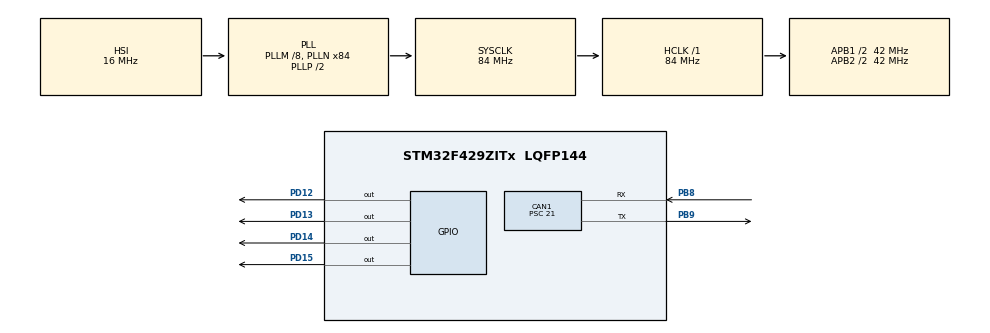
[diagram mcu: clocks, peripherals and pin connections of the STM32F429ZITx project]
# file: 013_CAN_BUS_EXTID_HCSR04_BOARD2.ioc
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CAN1.BS1=CAN_BS1_13TQ
CAN1.BS2=CAN_BS2_2TQ
CAN1.CalculateBaudRate=125000
CAN1.CalculateTimeBit=8000
CAN1.CalculateTimeQuantum=500.0
CAN1.Prescaler=21
Mcu.Family=STM32F4
Mcu.Name=STM32F429ZITx
Mcu.Package=LQFP144
NVIC.CAN1_RX0_IRQn=true\:0\:0\:false\:false\:true\:true\:true\:true
NVIC.PriorityGroup=NVIC_PRIORITYGROUP_0
PB8.Mode=CAN_Activate
PB8.Signal=CAN1_RX
PB9.Mode=CAN_Activate
PB9.Signal=CAN1_TX
PD12.Signal=GPIO_Output
PD13.Signal=GPIO_Output
PD14.Signal=GPIO_Output
PD15.Signal=GPIO_Output
PH0/OSC_IN.Mode=HSE-External-Oscillator
PH0/OSC_IN.Signal=RCC_OSC_IN
PH1/OSC_OUT.Mode=HSE-External-Oscillator
PH1/OSC_OUT.Signal=RCC_OSC_OUT
ProjectManager.HeapSize=0x200
ProjectManager.StackSize=0x400
ProjectManager.TargetToolchain=STM32CubeIDE
RCC.48MHZClocksFreq_Value=24000000
RCC.AHBFreq_Value=84000000
RCC.APB1CLKDivider=RCC_HCLK_DIV2
RCC.APB1Freq_Value=42000000
RCC.APB1TimFreq_Value=84000000
RCC.APB2CLKDivider=RCC_HCLK_DIV2
RCC.APB2Freq_Value=42000000
RCC.APB2TimFreq_Value=84000000
RCC.CortexFreq_Value=84000000
RCC.HCLKFreq_Value=84000000
RCC.HSE_VALUE=8000000
RCC.HSI_VALUE=16000000
RCC.LSE_VALUE=32768
RCC.PLLM=8
RCC.PLLN=84
RCC.PLLQ=7
RCC.SYSCLKFreq_VALUE=84000000
RCC.SYSCLKSource=RCC_SYSCLKSOURCE_PLLCLK
RCC.VCOOutputFreq_Value=168000000
board=STM32F429I-DISC1

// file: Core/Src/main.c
/* USER CODE BEGIN Header */
/**
  ******************************************************************************
  * @file           : main.c
  * @brief          : Main program body
  ******************************************************************************
  * @attention
  *
  * Copyright (c) 2023 STMicroelectronics.
  * All rights reserved.
  *
  * This software is licensed under terms that can be found in the LICENSE file
  * in the root directory of this software component.
  * If no LICENSE file comes with this software, it is provided AS-IS.
  *
  ******************************************************************************
  */
/* USER CODE END Header */
#include "main.h"

CAN_HandleTypeDef hcan1;

/* USER CODE BEGIN PV */
CAN_RxHeaderTypeDef pRXHeader;
CAN_TxHeaderTypeDef pTXHeader;
CAN_FilterTypeDef sFilterconfig;
uint8_t rdistance;
/* USER CODE END PV */

void SystemClock_Config(void);
static void MX_GPIO_Init(void);
static void MX_CAN1_Init(void);

int main(void)
{

  /* MCU Configuration--------------------------------------------------------*/

  /* Reset of all peripherals, Initializes the Flash interface and the Systick. */
  HAL_Init();

  /* Configure the system clock */
  SystemClock_Config();

  /* Initialize all configured peripherals */
  MX_GPIO_Init();
  MX_CAN1_Init();
  /* USER CODE BEGIN 2 */

pTXHeader.DLC = 1;
pTXHeader.IDE = CAN_ID_EXT;
pTXHeader.RTR  = CAN_RTR_DATA;
pTXHeader.ExtId = 0x1234ABCD;

sFilterconfig.FilterActivation = ENABLE;
sFilterconfig.FilterBank = 0;
sFilterconfig.FilterFIFOAssignment = CAN_FILTER_FIFO0;
sFilterconfig.FilterIdHigh = 0xAB12FFFF >> 13 ;   // FILTER ONLY MSG FROM BOARD 1
sFilterconfig.FilterIdLow = 0 ;
sFilterconfig.FilterMaskIdHigh  = 0xAB12FFFF >> 13;
sFilterconfig.FilterMaskIdLow = 0;
sFilterconfig.FilterMode = CAN_FILTERMODE_IDMASK;
sFilterconfig.FilterScale = CAN_FILTERSCALE_32BIT;

HAL_CAN_ConfigFilter(&hcan1, &sFilterconfig);

HAL_CAN_Start(&hcan1);  // START CAN COMMUNICATION

HAL_CAN_ActivateNotification(&hcan1, CAN_IT_RX_FIFO0_MSG_PENDING); // START RX0 FIFO0 INTERRUPT
  /* USER CODE END 2 */

  /* Infinite loop */
  while (1)
  {

    /* USER CODE BEGIN 3 */

	  if(rdistance > 6 && rdistance <12)
	  {
		  HAL_GPIO_WritePin(GPIOD, GPIO_PIN_12,GPIO_PIN_SET);
		  HAL_GPIO_WritePin(GPIOD,GPIO_PIN_13 |GPIO_PIN_14 |GPIO_PIN_15,GPIO_PIN_RESET);

	  }
	  else if(rdistance >=12 && rdistance < 18)
	  {
		  HAL_GPIO_WritePin(GPIOD, GPIO_PIN_12 | GPIO_PIN_13,GPIO_PIN_SET);
		  HAL_GPIO_WritePin(GPIOD,GPIO_PIN_14 |GPIO_PIN_15,GPIO_PIN_RESET);

	  }
	  else if(rdistance >= 18 && rdistance < 24)
	  {
		  HAL_GPIO_WritePin(GPIOD, GPIO_PIN_12 | GPIO_PIN_13 |GPIO_PIN_14,GPIO_PIN_SET);
		  HAL_GPIO_WritePin(GPIOD,GPIO_PIN_15,GPIO_PIN_RESET);

	  }
	  else if(rdistance >= 24)
	  {
		  HAL_GPIO_WritePin(GPIOD, GPIO_PIN_12 | GPIO_PIN_13 |GPIO_PIN_14|GPIO_PIN_15,GPIO_PIN_SET);
	  }
	  else
	  {

		  HAL_GPIO_WritePin(GPIOD, GPIO_PIN_12 | GPIO_PIN_13 |GPIO_PIN_14|GPIO_PIN_15,GPIO_PIN_RESET);
	  }
  }
  /* USER CODE END 3 */
}

void SystemClock_Config(void)
{
  RCC_OscInitTypeDef RCC_OscInitStruct = {0};
  RCC_ClkInitTypeDef RCC_ClkInitStruct = {0};

  /** Configure the main internal regulator output voltage
  */
  __HAL_RCC_PWR_CLK_ENABLE();
  __HAL_PWR_VOLTAGESCALING_CONFIG(PWR_REGULATOR_VOLTAGE_SCALE3);

  /** Initializes the RCC Oscillators according to the specified parameters
  * in the RCC_OscInitTypeDef structure.
  */
  RCC_OscInitStruct.OscillatorType = RCC_OSCILLATORTYPE_HSI;
  RCC_OscInitStruct.HSIState = RCC_HSI_ON;
  RCC_OscInitStruct.HSICalibrationValue = RCC_HSICALIBRATION_DEFAULT;
  RCC_OscInitStruct.PLL.PLLState = RCC_PLL_ON;
  RCC_OscInitStruct.PLL.PLLSource = RCC_PLLSOURCE_HSI;
  RCC_OscInitStruct.PLL.PLLM = 8;
  RCC_OscInitStruct.PLL.PLLN = 84;
  RCC_OscInitStruct.PLL.PLLP = RCC_PLLP_DIV2;
  RCC_OscInitStruct.PLL.PLLQ = 7;
  if (HAL_RCC_OscConfig(&RCC_OscInitStruct) != HAL_OK)
  {
    Error_Handler();
  }

  /** Initializes the CPU, AHB and APB buses clocks
  */
  RCC_ClkInitStruct.ClockType = RCC_CLOCKTYPE_HCLK|RCC_CLOCKTYPE_SYSCLK
                              |RCC_CLOCKTYPE_PCLK1|RCC_CLOCKTYPE_PCLK2;
  RCC_ClkInitStruct.SYSCLKSource = RCC_SYSCLKSOURCE_PLLCLK;
  RCC_ClkInitStruct.AHBCLKDivider = RCC_SYSCLK_DIV1;
  RCC_ClkInitStruct.APB1CLKDivider = RCC_HCLK_DIV2;
  RCC_ClkInitStruct.APB2CLKDivider = RCC_HCLK_DIV2;

  if (HAL_RCC_ClockConfig(&RCC_ClkInitStruct, FLASH_LATENCY_2) != HAL_OK)
  {
    Error_Handler();
  }
}

static void MX_CAN1_Init(void)
{

  hcan1.Instance = CAN1;
  hcan1.Init.Prescaler = 21;
  hcan1.Init.Mode = CAN_MODE_NORMAL;
  hcan1.Init.SyncJumpWidth = CAN_SJW_1TQ;
  hcan1.Init.TimeSeg1 = CAN_BS1_13TQ;
  hcan1.Init.TimeSeg2 = CAN_BS2_2TQ;
  hcan1.Init.TimeTriggeredMode = DISABLE;
  hcan1.Init.AutoBusOff = DISABLE;
  hcan1.Init.AutoWakeUp = DISABLE;
  hcan1.Init.AutoRetransmission = DISABLE;
  hcan1.Init.ReceiveFifoLocked = DISABLE;
  hcan1.Init.TransmitFifoPriority = DISABLE;
  if (HAL_CAN_Init(&hcan1) != HAL_OK)
  {
    Error_Handler();
  }

}

static void MX_GPIO_Init(void)
{
  GPIO_InitTypeDef GPIO_InitStruct = {0};

  /* GPIO Ports Clock Enable */
  __HAL_RCC_GPIOH_CLK_ENABLE();
  __HAL_RCC_GPIOD_CLK_ENABLE();
  __HAL_RCC_GPIOB_CLK_ENABLE();

  /*Configure GPIO pin Output Level */
  HAL_GPIO_WritePin(GPIOD, GPIO_PIN_12|GPIO_PIN_13|GPIO_PIN_14|GPIO_PIN_15, GPIO_PIN_RESET);

  /*Configure GPIO pins : PD12 PD13 PD14 PD15 */
  GPIO_InitStruct.Pin = GPIO_PIN_12|GPIO_PIN_13|GPIO_PIN_14|GPIO_PIN_15;
  GPIO_InitStruct.Mode = GPIO_MODE_OUTPUT_PP;
  GPIO_InitStruct.Pull = GPIO_NOPULL;
  GPIO_InitStruct.Speed = GPIO_SPEED_FREQ_LOW;
  HAL_GPIO_Init(GPIOD, &GPIO_InitStruct);

}

void Error_Handler(void)
{
  __disable_irq();
  while (1)
  {
  }
}
